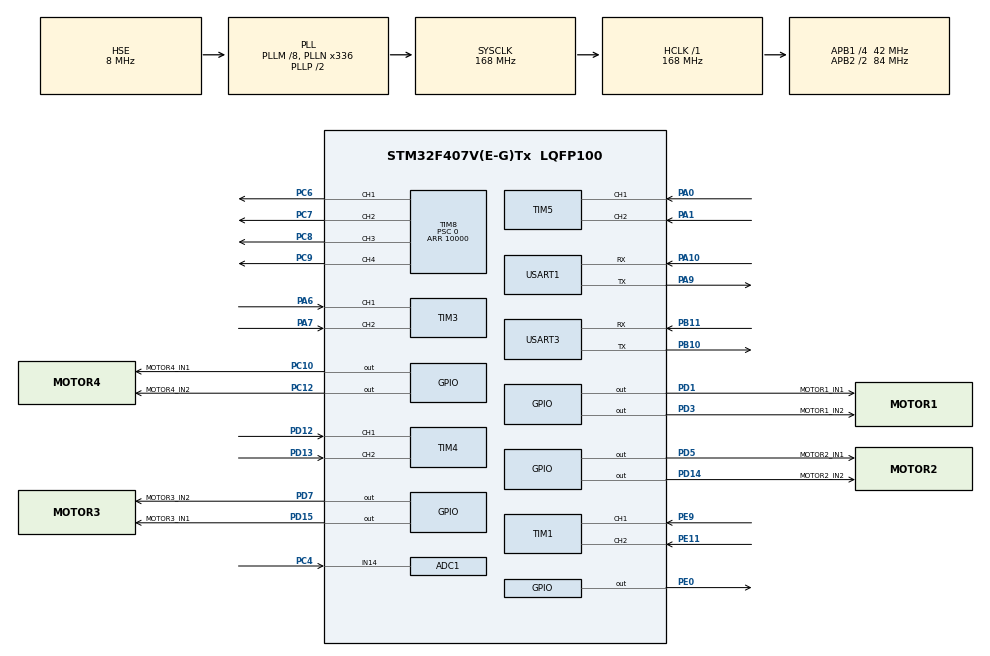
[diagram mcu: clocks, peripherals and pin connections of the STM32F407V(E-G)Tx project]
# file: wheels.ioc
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ADC1.Channel-0\#ChannelRegularConversion=ADC_CHANNEL_14
ADC1.NbrOfConversionFlag=1
ADC1.Rank-0\#ChannelRegularConversion=1
ADC1.SamplingTime-0\#ChannelRegularConversion=ADC_SAMPLETIME_3CYCLES
ADC1.master=1
Mcu.Family=STM32F4
Mcu.Name=STM32F407V(E-G)Tx
Mcu.Package=LQFP100
NVIC.PriorityGroup=NVIC_PRIORITYGROUP_4
PA0-WKUP.Signal=S_TIM5_CH1
PA1.Signal=S_TIM5_CH2
PA10.Mode=Asynchronous
PA10.Signal=USART1_RX
PA13.Mode=Trace_Asynchronous_SW
PA13.Signal=SYS_JTMS-SWDIO
PA14.Mode=Trace_Asynchronous_SW
PA14.Signal=SYS_JTCK-SWCLK
PA6.Signal=S_TIM3_CH1
PA7.Signal=S_TIM3_CH2
PA9.Mode=Asynchronous
PA9.Signal=USART1_TX
PB10.Mode=Asynchronous
PB10.Signal=USART3_TX
PB11.Mode=Asynchronous
PB11.Signal=USART3_RX
PB3.Mode=Trace_Asynchronous_SW
PB3.Signal=SYS_JTDO-SWO
PC10.GPIO_Label=MOTOR4_IN1
PC10.Signal=GPIO_Output
PC12.GPIO_Label=MOTOR4_IN2
PC12.Signal=GPIO_Output
PC4.Signal=ADCx_IN14
PC6.Signal=S_TIM8_CH1
PC7.Signal=S_TIM8_CH2
PC8.Signal=S_TIM8_CH3
PC9.Signal=S_TIM8_CH4
PD1.GPIO_Label=MOTOR1_IN1
PD1.Signal=GPIO_Output
PD12.Signal=S_TIM4_CH1
PD13.Signal=S_TIM4_CH2
PD14.GPIO_Label=MOTOR2_IN2
PD14.Signal=GPIO_Output
PD15.GPIO_Label=MOTOR3_IN1
PD15.Signal=GPIO_Output
PD3.GPIO_Label=MOTOR1_IN2
PD3.Signal=GPIO_Output
PD5.GPIO_Label=MOTOR2_IN1
PD5.Signal=GPIO_Output
PD7.GPIO_Label=MOTOR3_IN2
PD7.Signal=GPIO_Output
PE0.Signal=GPIO_Output
PE11.Signal=S_TIM1_CH2
PE9.Signal=S_TIM1_CH1
PH0-OSC_IN.Mode=HSE-External-Oscillator
PH0-OSC_IN.Signal=RCC_OSC_IN
PH1-OSC_OUT.Mode=HSE-External-Oscillator
PH1-OSC_OUT.Signal=RCC_OSC_OUT
ProjectManager.HeapSize=0x200
ProjectManager.StackSize=0x400
ProjectManager.TargetToolchain=Makefile
RCC.48MHZClocksFreq_Value=84000000
RCC.AHBFreq_Value=168000000
RCC.APB1CLKDivider=RCC_HCLK_DIV4
RCC.APB1Freq_Value=42000000
RCC.APB1TimFreq_Value=84000000
RCC.APB2CLKDivider=RCC_HCLK_DIV2
RCC.APB2Freq_Value=84000000
RCC.APB2TimFreq_Value=168000000
RCC.CortexFreq_Value=168000000
RCC.HCLKFreq_Value=168000000
RCC.HSE_VALUE=8000000
RCC.HSI_VALUE=16000000
RCC.LSE_VALUE=32768
RCC.PLLM=8
RCC.PLLN=336
RCC.PLLSourceVirtual=RCC_PLLSOURCE_HSE
RCC.SYSCLKFreq_VALUE=168000000
RCC.SYSCLKSource=RCC_SYSCLKSOURCE_PLLCLK
RCC.VCOOutputFreq_Value=336000000
SH.ADCx_IN14.0=ADC1_IN14,IN14
SH.S_TIM1_CH1.0=TIM1_CH1,Encoder_Interface
SH.S_TIM1_CH2.0=TIM1_CH2,Encoder_Interface
SH.S_TIM3_CH1.0=TIM3_CH1,Encoder_Interface
SH.S_TIM3_CH2.0=TIM3_CH2,Encoder_Interface
SH.S_TIM4_CH1.0=TIM4_CH1,Encoder_Interface
SH.S_TIM4_CH2.0=TIM4_CH2,Encoder_Interface
SH.S_TIM5_CH1.0=TIM5_CH1,Encoder_Interface
SH.S_TIM5_CH2.0=TIM5_CH2,Encoder_Interface
SH.S_TIM8_CH1.0=TIM8_CH1,PWM Generation1 CH1
SH.S_TIM8_CH2.0=TIM8_CH2,PWM Generation2 CH2
SH.S_TIM8_CH3.0=TIM8_CH3,PWM Generation3 CH3
SH.S_TIM8_CH4.0=TIM8_CH4,PWM Generation4 CH4
TIM8.Channel-PWM\ Generation1\ CH1=TIM_CHANNEL_1
TIM8.Channel-PWM\ Generation2\ CH2=TIM_CHANNEL_2
TIM8.Channel-PWM\ Generation3\ CH3=TIM_CHANNEL_3
TIM8.Channel-PWM\ Generation4\ CH4=TIM_CHANNEL_4
TIM8.CounterMode=TIM_COUNTERMODE_CENTERALIGNED1
TIM8.Period=10000
TIM8.Prescaler=0
USART1.VirtualMode=VM_ASYNC
USART3.VirtualMode=VM_ASYNC
board=custom

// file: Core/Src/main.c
/**
  ******************************************************************************
  * @file           : main.c
  * @brief          : Main program body
  ******************************************************************************
  ** This notice applies to any and all portions of this file
  * that are not between comment pairs USER CODE BEGIN and
  * USER CODE END. Other portions of this file, whether
  * inserted by the user or by software development tools
  * are owned by their respective copyright owners.
  *
  * COPYRIGHT(c) 2018 STMicroelectronics
  *
  * Redistribution and use in source and binary forms, with or without modification,
  * are permitted provided that the following conditions are met:
  *   1. Redistributions of source code must retain the above copyright notice,
  *      this list of conditions and the following disclaimer.
  *   2. Redistributions in binary form must reproduce the above copyright notice,
  *      this list of conditions and the following disclaimer in the documentation
  *      and/or other materials provided with the distribution.
  *   3. Neither the name of STMicroelectronics nor the names of its contributors
  *      may be used to endorse or promote products derived from this software
  *      without specific prior written permission.
  *
  * THIS SOFTWARE IS PROVIDED BY THE COPYRIGHT HOLDERS AND CONTRIBUTORS "AS IS"
  * AND ANY EXPRESS OR IMPLIED WARRANTIES, INCLUDING, BUT NOT LIMITED TO, THE
  * IMPLIED WARRANTIES OF MERCHANTABILITY AND FITNESS FOR A PARTICULAR PURPOSE ARE
  * DISCLAIMED. IN NO EVENT SHALL THE COPYRIGHT HOLDER OR CONTRIBUTORS BE LIABLE
  * FOR ANY DIRECT, INDIRECT, INCIDENTAL, SPECIAL, EXEMPLARY, OR CONSEQUENTIAL
  * DAMAGES (INCLUDING, BUT NOT LIMITED TO, PROCUREMENT OF SUBSTITUTE GOODS OR
  * SERVICES; LOSS OF USE, DATA, OR PROFITS; OR BUSINESS INTERRUPTION) HOWEVER
  * CAUSED AND ON ANY THEORY OF LIABILITY, WHETHER IN CONTRACT, STRICT LIABILITY,
  * OR TORT (INCLUDING NEGLIGENCE OR OTHERWISE) ARISING IN ANY WAY OUT OF THE USE
  * OF THIS SOFTWARE, EVEN IF ADVISED OF THE POSSIBILITY OF SUCH DAMAGE.
  *
  ******************************************************************************
  */
#include "main.h"
#include "stm32f4xx_hal.h"
#include "adc.h"
#include "tim.h"
#include "usart.h"
#include "gpio.h"

/* USER CODE BEGIN Includes */
#include "defines.h"
/* USER CODE END Includes */

/* USER CODE BEGIN PV */
/* Private variables ---------------------------------------------------------*/

#define NUM_STEPS       (272)

float deltas[NUM_STEPS][2] = {
        { 0, 0 },
        { 0.1, 0 },
        { 0.1, 0.00333518672982534 },
        { 0.1, 0.00668153104781060 },
        { 0.1, 0.0100503781525921 },
        { 0.1, 0.0134534558799262 },
        { 0.1, 0.0169030850945703 },
        { 0.1, 0.0204124145231931 },
        { 0.1, 0.0239956909566871 },
        { 0.1, 0.0276685785546430 },
        { 0.1, 0.0314485451016576 },
        { 0.1, 0.0353553390593274 },
        { 0.1, 0.0394115900145010 },
        { 0.1, 0.0436435780471985 },
        { 0.1, 0.0480822368945951 },
        { 0.1, 0.0527644853011086 },
        { 0.1, 0.0577350269189626 },
        { 0.1, 0.0630488324991280 },
        { 0.1, 0.0687746384953325 },
        { 0.1, 0.0750000000000000 },
        { 0.1, 0.0818387935282501 },
        { 0.1, 0.0894427190999916 },
        { 0.1, 0.0980196058819607 },
        { 0.1, 0.107863874326001 },
        { 0.1, 0.119410050279768 },
        { 0.1, 0.133333333333333 },
        { 0.1, 0.150755672288882 },
        { 0.1, 0.173719807243076 },
        { 0.1, 0.206474160483506 },
        { 0.1, 0.259973473447873 },
        { 0.1, 0.307547841844389 },
        { 0.1, 0.307547841844389 },
        { 0.1, 0.307547841844389 },
        { 0.1, 0.307547841844389 },
        { 0.1, 0.377547841844389 },
        { 0.1, 0.377547841844389 },
        { 0.1, 0.377547841844389 },
        { 0.1, 0.377547841844389 },
        { 0.1, 0.307547841844389 },
        { 0.1, 0.307547841844389 },
        { 0.1, 0.307547841844389 },
        { 0.1, 0.307547841844389 },
        { 0.1, 0.259973473447873 },
        { 0.1, 0.206474160483506 },
        { 0.1, 0.173719807243076 },
        { 0.1, 0.150755672288882 },
        { 0.1, 0.133333333333333 },
        { 0.1, 0.119410050279768 },
        { 0.1, 0.107863874326001 },
        { 0.1, 0.0980196058819607 },
        { 0.1, 0.0894427190999916 },
        { 0.1, 0.0818387935282501 },
        { 0.1, 0.0750000000000000 },
        { 0.1, 0.0687746384953325 },
        { 0.1, 0.0630488324991280 },
        { 0.1, 0.0577350269189626 },
        { 0.1, 0.0527644853011086 },
        { 0.1, 0.0480822368945951 },
        { 0.1, 0.0436435780471985 },
        { 0.1, 0.0394115900145010 },
        { 0.1, 0.0353553390593274 },
        { 0.1, 0.0314485451016576 },
        { 0.1, 0.0276685785546430 },
        { 0.1, 0.0239956909566871 },
        { 0.1, 0.0204124145231931 },
        { 0.1, 0.0169030850945703 },
        { 0.1, 0.0134534558799262 },
        { 0.1, 0.0100503781525921 },
        { 0.1, 0.00668153104781060 },
        { 0.1, 0.00333518672982534 },
        { 0.1, -0.00333518672982534 },
        { 0.1, -0.00668153104781060 },
        { 0.1, -0.0100503781525921 },
        { 0.1, -0.0134534558799262 },
        { 0.1, -0.0169030850945703 },
        { 0.1, -0.0204124145231931 },
        { 0.1, -0.0239956909566871 },
        { 0.1, -0.0276685785546430 },
        { 0.1, -0.0314485451016576 },
        { 0.1, -0.0353553390593274 },
        { 0.1, -0.0394115900145010 },
        { 0.1, -0.0436435780471985 },
        { 0.1, -0.0480822368945951 },
        { 0.1, -0.0527644853011086 },
        { 0.1, -0.0577350269189626 },
        { 0.1, -0.0630488324991280 },
        { 0.1, -0.0687746384953325 },
        { 0.1, -0.0750000000000000 },
        { 0.1, -0.0818387935282501 },
        { 0.1, -0.0894427190999916 },
        { 0.1, -0.0980196058819607 },
        { 0.1, -0.107863874326001 },
        { 0.1, -0.119410050279768 },
        { 0.1, -0.133333333333333 },
        { 0.1, -0.150755672288882 },
        { 0.1, -0.173719807243076 },
        { 0.1, -0.206474160483506 },
        { 0.1, -0.259973473447873 },
        { 0.1, -0.307547841844389 },
        { 0.1, -0.307547841844389 },
        { 0.1, -0.307547841844389 },
        { 0.1, -0.307547841844389 },
        { 0.1, -0.377547841844389 },
        { 0.1, -0.377547841844389 },
        { 0.1, -0.307547841844389 },
        { 0.1, -0.307547841844389 },
        { 0.1, -0.307547841844389 },
        { 0.1, -0.307547841844389 },
        { 0.1, -0.259973473447873 },
        { 0.1, -0.206474160483506 },
        { 0.1, -0.173719807243076 },
        { 0.1, -0.150755672288882 },
        { 0.1, -0.133333333333333 },
        { 0.1, -0.119410050279768 },
        { 0.1, -0.107863874326001 },
        { 0.1, -0.0980196058819607 },
        { 0.1, -0.0894427190999916 },
        { 0.1, -0.0818387935282501 },
        { 0.1, -0.0750000000000000 },
        { 0.1, -0.0687746384953325 },
        { 0.1, -0.0630488324991280 },
        { 0.1, -0.0577350269189626 },
        { 0.1, -0.0527644853011086 },
        { 0.1, -0.0480822368945951 },
        { 0.1, -0.0436435780471985 },
        { 0.1, -0.0394115900145010 },
        { 0.1, -0.0353553390593274 },
        { 0.1, -0.0314485451016576 },
        { 0.1, -0.0276685785546430 },
        { 0.1, -0.0239956909566871 },
        { 0.1, -0.0204124145231931 },
        { 0.1, -0.0169030850945703 },
        { 0.1, -0.0134534558799262 },
        { 0.1, -0.0100503781525921 },
        { 0.075, -0.00668153104781060 },
        { 0.025, -0.00333518672982534 },
        { -0.025, 0.00333518672982534 },
        { -0.075, 0.00668153104781060 },
        { -0.1, 0.0100503781525921 },
        { -0.1, 0.0134534558799262 },
        { -0.1, 0.0169030850945703 },
        { -0.1, 0.0204124145231931 },
        { -0.1, 0.0239956909566871 },
        { -0.1, 0.0276685785546430 },
        { -0.1, 0.0314485451016576 },
        { -0.1, 0.0353553390593274 },
        { -0.1, 0.0394115900145010 },
        { -0.1, 0.0436435780471985 },
        { -0.1, 0.0480822368945951 },
        { -0.1, 0.0527644853011086 },
        { -0.1, 0.0577350269189626 },
        { -0.1, 0.0630488324991280 },
        { -0.1, 0.0687746384953325 },
        { -0.1, 0.0750000000000000 },
        { -0.1, 0.0818387935282501 },
        { -0.1, 0.0894427190999916 },
        { -0.1, 0.0980196058819607 },
        { -0.1, 0.107863874326001 },
        { -0.1, 0.119410050279768 },
        { -0.1, 0.133333333333333 },
        { -0.1, 0.150755672288882 },
        { -0.1, 0.173719807243076 },
        { -0.1, 0.206474160483506 },
        { -0.1, 0.259973473447873 },
        { -0.1, 0.307547841844389 },
        { -0.1, 0.307547841844389 },
        { -0.1, 0.307547841844389 },
        { -0.1, 0.307547841844389 },
        { -0.1, 0.377547841844389 },
        { -0.1, 0.377547841844389 },
        { -0.1, 0.377547841844389 },
        { -0.1, 0.377547841844389 },
        { -0.1, 0.307547841844389 },
        { -0.1, 0.307547841844389 },
        { -0.1, 0.307547841844389 },
        { -0.1, 0.307547841844389 },
        { -0.1, 0.259973473447873 },
        { -0.1, 0.206474160483506 },
        { -0.1, 0.173719807243076 },
        { -0.1, 0.150755672288882 },
        { -0.1, 0.133333333333333 },
        { -0.1, 0.119410050279768 },
        { -0.1, 0.107863874326001 },
        { -0.1, 0.0980196058819607 },
        { -0.1, 0.0894427190999916 },
        { -0.1, 0.0818387935282501 },
        { -0.1, 0.0750000000000000 },
        { -0.1, 0.0687746384953325 },
        { -0.1, 0.0630488324991280 },
        { -0.1, 0.0577350269189626 },
        { -0.1, 0.0527644853011086 },
        { -0.1, 0.0480822368945951 },
        { -0.1, 0.0436435780471985 },
        { -0.1, 0.0394115900145010 },
        { -0.1, 0.0353553390593274 },
        { -0.1, 0.0314485451016576 },
        { -0.1, 0.0276685785546430 },
        { -0.1, 0.0239956909566871 },
        { -0.1, 0.0204124145231931 },
        { -0.1, 0.0169030850945703 },
        { -0.1, 0.0134534558799262 },
        { -0.1, 0.0100503781525921 },
        { -0.1, 0.00668153104781060 },
        { -0.1, 0.00333518672982534 },
        { -0.1, -0.00333518672982534 },
        { -0.1, -0.00668153104781060 },
        { -0.1, -0.0100503781525921 },
        { -0.1, -0.0134534558799262 },
        { -0.1, -0.0169030850945703 },
        { -0.1, -0.0204124145231931 },
        { -0.1, -0.0239956909566871 },
        { -0.1, -0.0276685785546430 },
        { -0.1, -0.0314485451016576 },
        { -0.1, -0.0353553390593274 },
        { -0.1, -0.0394115900145010 },
        { -0.1, -0.0436435780471985 },
        { -0.1, -0.0480822368945951 },
        { -0.1, -0.0527644853011086 },
        { -0.1, -0.0577350269189626 },
        { -0.1, -0.0630488324991280 },
        { -0.1, -0.0687746384953325 },
        { -0.1, -0.0750000000000000 },
        { -0.1, -0.0818387935282501 },
        { -0.1, -0.0894427190999916 },
        { -0.1, -0.0980196058819607 },
        { -0.1, -0.107863874326001 },
        { -0.1, -0.119410050279768 },
        { -0.1, -0.133333333333333 },
        { -0.1, -0.150755672288882 },
        { -0.1, -0.173719807243076 },
        { -0.1, -0.206474160483506 },
        { -0.1, -0.259973473447873 },
        { -0.1, -0.307547841844389 },
        { -0.1, -0.307547841844389 },
        { -0.1, -0.307547841844389 },
        { -0.1, -0.307547841844389 },
        { -0.1, -0.377547841844389 },
        { -0.1, -0.377547841844389 },
        { -0.1, -0.307547841844389 },
        { -0.1, -0.307547841844389 },
        { -0.1, -0.307547841844389 },
        { -0.1, -0.307547841844389 },
        { -0.1, -0.259973473447873 },
        { -0.1, -0.206474160483506 },
        { -0.1, -0.173719807243076 },
        { -0.1, -0.150755672288882 },
        { -0.1, -0.133333333333333 },
        { -0.1, -0.119410050279768 },
        { -0.1, -0.107863874326001 },
        { -0.1, -0.0980196058819607 },
        { -0.1, -0.0894427190999916 },
        { -0.1, -0.0818387935282501 },
        { -0.1, -0.0750000000000000 },
        { -0.1, -0.0687746384953325 },
        { -0.1, -0.0630488324991280 },
        { -0.1, -0.0577350269189626 },
        { -0.1, -0.0527644853011086 },
        { -0.1, -0.0480822368945951 },
        { -0.1, -0.0436435780471985 },
        { -0.1, -0.0394115900145010 },
        { -0.1, -0.0353553390593274 },
        { -0.1, -0.0314485451016576 },
        { -0.1, -0.0276685785546430 },
        { -0.1, -0.0239956909566871 },
        { -0.1, -0.0204124145231931 },
        { -0.1, -0.0169030850945703 },
        { -0.1, -0.0134534558799262 },
        { -0.1, -0.0100503781525921 },
        { -0.1, -0.00668153104781060 },
        { 0, -0.00333518672982534 },
        { 0, 0 },
        {0,0}
};

// float deltas[NUM_STEPS][2] = {
//     {0, 0},
//     {0.01, 0},
//     {0.02, 0},
//     {0.03, 0},
//     {0.04, 0},
//     {0.05, 0},
//     {0.06, 0},
//     {0.07, 0},
//     {0.08, 0},
//     {0.09, 0},
//     {0.1, 0},
//     {0.12, 0},
//     {0.14, 0},
//     {0.16, 0},
//     {0.18, 0},
//     {0.2, 0},
//     {0.2, 0},
//     {0.2, 0},
//     {0.2, 0},
//     {0.2, 0},
//     {0.2, 0},
//     {0.2, 0},
//     {0.2, 0},
//     {0.18, 0},
//     {0.16, 0},
//     {0.16, 0},
//     {0.14, 0},
//     {0.12, 0},
//     {0.1, 0},
//     {0.09, 0},
//     {0.08, 0},
//     {0.08, 0},
//     {0.07, 0},
//     {0.06, 0},
//     {0.05, 0},
//     {0.04, 0},
//     {0.03, 0},
//     {0.02, 0},
//     {0.01, 0},
//     {0, 0}

// };

static uint8_t index = 0;
const float time = 0.377;
const uint8_t Speed_Multiplier = 1.9;

float velocities[NUM_STEPS][4];

float tmp_omega;

enum Dirn {
        HALT,
        AHEAD,
        BACK
};

/* USER CODE END PV */

void SystemClock_Config(void);

/* USER CODE BEGIN PFP */
/* Private function prototypes -----------------------------------------------*/

uint16_t time_period(uint16_t PWM_frequency);
/* USER CODE END PFP */

/* USER CODE BEGIN 0 */

/* SET DUTYCYCLE function */
void set_DutyCycle (TIM_HandleTypeDef *htim, uint32_t Channel, uint16_t dutyCycle)
{
        uint16_t mapped_value;
        mapped_value = (time_period(MOTOR_DRIVER_FREQUENCY)*dutyCycle)/65535;
        __HAL_TIM_SET_COMPARE(htim, Channel, mapped_value);
}

float float_abs(float x) {
        if (x < 0) {
                return (-1 * x);
        }
        return x;
}

typedef struct
{
        uint8_t id;
        float radius;
        float wheel_velcoity;
        float omega;
        enum Dirn direction;
        GPIO_TypeDef * in1_port;
        uint16_t in1_pin;
        GPIO_TypeDef * in2_port;
        uint16_t in2_pin;
} wheel;

wheel w[4];
void wheel_init(void)
{
        int i;
        for (i = 0; i < 4; i++)
        {
                w[i].id = i;
                w[i].radius = 0.067;
        }
        w[0].in1_port = GPIOD;
        w[0].in1_pin = GPIO_PIN_1;
        w[0].in2_port = GPIOD;
        w[0].in2_pin = GPIO_PIN_3;

        w[1].in1_port = GPIOD;
        w[1].in1_pin = GPIO_PIN_5;
        w[1].in2_port = GPIOD;
        w[1].in2_pin = GPIO_PIN_14;

        w[2].in1_port = GPIOD;
        w[2].in1_pin = GPIO_PIN_7;
        w[2].in2_port = GPIOD;
        w[2].in2_pin = GPIO_PIN_15;

        w[3].in1_port = GPIOC;
        w[3].in1_pin = GPIO_PIN_12;
        w[3].in2_port = GPIOC;
        w[3].in2_pin = GPIO_PIN_10;
}

void calculate_robot_velocity()
{
        float x,y;
        x = deltas[index][0] * Speed_Multiplier;
        y = deltas[index][1] * Speed_Multiplier;
        float velocity[3] = {x / time, y / time, 0};
        int coupling_matrix[4][3] = {{-1, 1, 1}, {1, 1, 1}, {-1, 1, -1}, {1, 1, -1}}; //const vanera global banauney

        for (int i = 0; i < 4; i++)
        {
                w[i].wheel_velcoity = 0;
                for (int j = 0; j < 3; j++)
                {
                        w[i].wheel_velcoity += velocity[j] * coupling_matrix[i][j];
                }
                velocities[index][i] = w[i].wheel_velcoity;
        }
        ++index;
}

void calculate_omega()
{
        for (int i = 0; i < 4; ++i) {
                w[i].omega = w[i].wheel_velcoity / w[i].radius;
        }
}

void set_Direction(wheel * w)
{
        if (w->direction == AHEAD) {
                HAL_GPIO_WritePin(w->in1_port, w->in1_pin, SET);
                HAL_GPIO_WritePin(w->in2_port, w->in2_pin, RESET);
        }
        else if (w->direction == BACK) {
                HAL_GPIO_WritePin(w->in1_port, w->in1_pin, RESET);
                HAL_GPIO_WritePin(w->in2_port, w->in2_pin, SET);
        }
        else {
                HAL_GPIO_WritePin(w->in1_port, w->in1_pin, RESET);
                HAL_GPIO_WritePin(w->in2_port, w->in2_pin, RESET);
        }
}

void move()
{
        uint16_t dutyCycle[4];
        for (int i = 0; i < NUM_STEPS; ++i) {
                calculate_robot_velocity();
                calculate_omega();
                for (int j = 0; j < 4; ++j) {
                        tmp_omega = float_abs(w[j].omega);
                        dutyCycle[j] = 2663.115 * tmp_omega;
                        if (!w[j].omega) {
                                w[j].direction = HALT;
                        }
                        else if(w[j].omega > 0) {
                                w[j].direction = AHEAD;
                        }
                        else {
                                w[j].direction = BACK;
                        }
                        set_Direction(&w[j]);
                }
                set_DutyCycle(&htim8, TIM_CHANNEL_1, dutyCycle[0]);
                set_DutyCycle(&htim8, TIM_CHANNEL_2, dutyCycle[1]);
                set_DutyCycle(&htim8, TIM_CHANNEL_3, dutyCycle[2]);
                set_DutyCycle(&htim8, TIM_CHANNEL_4, dutyCycle[3]);
                HAL_Delay(90);
        }
}

/* USER CODE END 0 */

int main(void)
{

        /* MCU Configuration----------------------------------------------------------*/

        /* Reset of all peripherals, Initializes the Flash interface and the Systick. */
        HAL_Init();

        /* Configure the system clock */
        SystemClock_Config();

        /* Initialize all configured peripherals */
        MX_GPIO_Init();
        MX_ADC1_Init();
        MX_TIM1_Init();
        MX_TIM3_Init();
        MX_TIM4_Init();
        MX_TIM5_Init();
        MX_TIM8_Init();
        MX_USART1_UART_Init();
        MX_USART3_UART_Init();
        /* USER CODE BEGIN 2 */
        // sHAL_Delay(1000);
	HAL_TIM_Base_Start(&htim8);
        wheel_init();

	HAL_TIM_PWM_Start(&htim8, TIM_CHANNEL_1);
	HAL_TIM_PWM_Start(&htim8, TIM_CHANNEL_2);
	HAL_TIM_PWM_Start(&htim8, TIM_CHANNEL_3);
	HAL_TIM_PWM_Start(&htim8, TIM_CHANNEL_4);

        move();

        /* USER CODE END 2 */

        /* Infinite loop */
        while (1)
        {

                /* USER CODE BEGIN 3 */
                HAL_Delay(100);
        }
        /* USER CODE END 3 */
}

void SystemClock_Config(void)
{

        RCC_OscInitTypeDef RCC_OscInitStruct;
        RCC_ClkInitTypeDef RCC_ClkInitStruct;

        /**Configure the main internal regulator output voltage
    */
        __HAL_RCC_PWR_CLK_ENABLE();

        __HAL_PWR_VOLTAGESCALING_CONFIG(PWR_REGULATOR_VOLTAGE_SCALE1);

        /**Initializes the CPU, AHB and APB busses clocks
    */
        RCC_OscInitStruct.OscillatorType = RCC_OSCILLATORTYPE_HSE;
        RCC_OscInitStruct.HSEState = RCC_HSE_ON;
        RCC_OscInitStruct.PLL.PLLState = RCC_PLL_ON;
        RCC_OscInitStruct.PLL.PLLSource = RCC_PLLSOURCE_HSE;
        RCC_OscInitStruct.PLL.PLLM = 8;
        RCC_OscInitStruct.PLL.PLLN = 336;
        RCC_OscInitStruct.PLL.PLLP = RCC_PLLP_DIV2;
        RCC_OscInitStruct.PLL.PLLQ = 4;
        if (HAL_RCC_OscConfig(&RCC_OscInitStruct) != HAL_OK)
        {
                _Error_Handler(__FILE__, __LINE__);
        }

        /**Initializes the CPU, AHB and APB busses clocks
    */
        RCC_ClkInitStruct.ClockType = RCC_CLOCKTYPE_HCLK | RCC_CLOCKTYPE_SYSCLK | RCC_CLOCKTYPE_PCLK1 | RCC_CLOCKTYPE_PCLK2;
        RCC_ClkInitStruct.SYSCLKSource = RCC_SYSCLKSOURCE_PLLCLK;
        RCC_ClkInitStruct.AHBCLKDivider = RCC_SYSCLK_DIV1;
        RCC_ClkInitStruct.APB1CLKDivider = RCC_HCLK_DIV4;
        RCC_ClkInitStruct.APB2CLKDivider = RCC_HCLK_DIV2;

        if (HAL_RCC_ClockConfig(&RCC_ClkInitStruct, FLASH_LATENCY_5) != HAL_OK)
        {
                _Error_Handler(__FILE__, __LINE__);
        }

        /**Configure the Systick interrupt time
    */
        HAL_SYSTICK_Config(HAL_RCC_GetHCLKFreq() / 1000);

        /**Configure the Systick
    */
        HAL_SYSTICK_CLKSourceConfig(SYSTICK_CLKSOURCE_HCLK);

        /* SysTick_IRQn interrupt configuration */
        HAL_NVIC_SetPriority(SysTick_IRQn, 0, 0);
}

void _Error_Handler(char *file, int line)
{
        while (1)
        {
        }
}

/************************ (C) COPYRIGHT STMicroelectronics *****END OF FILE****/
